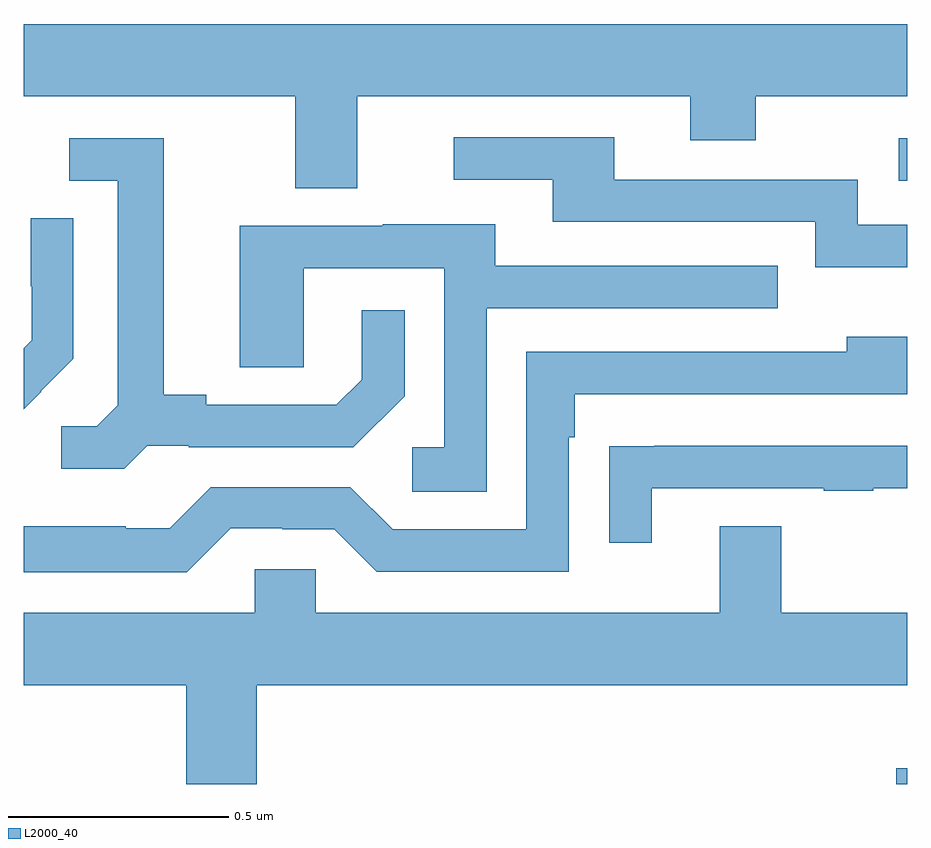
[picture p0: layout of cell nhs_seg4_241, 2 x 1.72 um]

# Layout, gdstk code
import gdstk
lib = gdstk.Library(unit=1e-6, precision=1e-09)
def R(c, l, rs):  # rectangles x0, y0, x1, y1
    for r in rs: c.add(gdstk.rectangle(r[:2], r[2:], *l))
def P(c, l, *ps):  # polygons
    for p in ps: c.add(gdstk.Polygon(p, *l))
L2000_40 = (2000, 40)

nhs_seg4_241 = lib.new_cell('nhs_seg4_241')
R(nhs_seg4_241, L2000_40, [(114.975,825.9,115,825.936), (114.981,827.265,115,827.361)])
P(nhs_seg4_241, L2000_40, [(113.755,827.456),(114.509,827.456),(114.509,827.357),(114.657,827.357),(114.657,827.456),(115,827.456),(115,827.62),(113,827.62),(113,827.456),(113.615,827.456),(113.615,827.248),(113.755,827.248)],
  [(115,827.166),(114.888,827.166),(114.888,827.268),(114.337,827.268),(114.337,827.364),(113.973,827.364),(113.973,827.268),(114.197,827.268),(114.197,827.172),(114.792,827.172),(114.792,827.069),(115,827.069)],
  [(113.28,826.665),(113.374,826.665),(113.374,826.662),(113.746,826.662),(113.862,826.778),(113.862,826.972),(113.765,826.972),(113.765,826.815),(113.708,826.758),(113.413,826.758),(113.413,826.781),(113.317,826.781),(113.317,827.361),(113.103,827.361),(113.103,827.265),(113.213,827.265),(113.213,826.757),(113.166,826.71),(113.085,826.71),(113.085,826.613),(113.228,826.613)],
  [(113.04,826.788),(113.039,826.789),(113.112,826.862),(113.112,827.18),(113.016,827.18),(113.016,827.026),(113.018,827.026),(113.018,826.904),(113,826.886),(113,826.748)],
  [(114.048,826.977),(114.707,826.977),(114.707,827.073),(114.067,827.073),(114.067,827.167),(113.813,827.167),(113.813,827.163),(113.489,827.163),(113.489,826.843),(113.634,826.843),(113.634,827.067),(113.952,827.067),(113.952,826.662),(113.88,826.662),(113.88,826.561),(114.048,826.561)],
  [(113.469,826.479),(113.585,826.479),(113.585,826.476),(113.703,826.476),(113.799,826.38),(114.234,826.38),(114.234,826.685),(114.247,826.685),(114.247,826.782),(115,826.782),(115,826.912),(114.863,826.912),(114.863,826.878),(114.138,826.878),(114.138,826.476),(113.835,826.476),(113.739,826.572),(113.424,826.572),(113.331,826.479),(113.231,826.479),(113.231,826.483),(113,826.483),(113,826.379),(113.369,826.379)],
  [(114.421,826.569),(114.811,826.569),(114.811,826.564),(114.923,826.564),(114.923,826.569),(115,826.569),(115,826.665),(114.427,826.665),(114.427,826.664),(114.325,826.664),(114.325,826.446),(114.421,826.446)],
  [(113.528,826.124),(115,826.124),(115,826.288),(114.715,826.288),(114.715,826.483),(114.575,826.483),(114.575,826.288),(113.661,826.288),(113.661,826.386),(113.523,826.386),(113.523,826.288),(113,826.288),(113,826.124),(113.368,826.124),(113.368,825.9),(113.528,825.9)])

lib.write_gds('nhs_seg4_241.gds')
